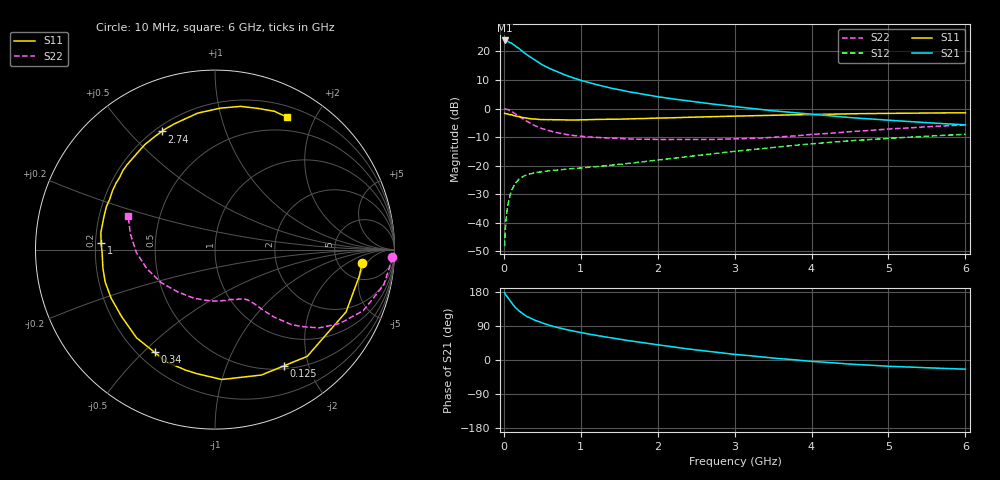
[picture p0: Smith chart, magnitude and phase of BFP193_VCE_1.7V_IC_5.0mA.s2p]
! Infineon Technologies  Discrete & RF Semiconductors
! BFP193
! VCE = 1.7 V,  IC =  5.0 mA
! Common Emitter S-Parameters:  Jan 2016
# GHz  S  MA  R  50
!  f  S11  S21  S12  S22
! GHz  MAG  ANG  MAG  ANG  MAG  ANG  MAG  ANG
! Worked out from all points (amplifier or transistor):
!   210 points, 10 MHz to 6 GHz, reference 50 ohm
!   highest |S21| = 23.8 dB at 10 MHz (marker M1)
!   |S21| within 3 dB of that: start of sweep to 205.5 MHz
!   unconditionally stable (mu >= 1): 1.263 GHz to 3.709 GHz
!   at 185 MHz: K = 0.21, MSG = 23.2 dB, |S12| = -25.1 dB
!   at 1.52 GHz: K = 1.09, MAG = 11.1 dB, |S12| = -19.5 dB
!   at 6 GHz: K = 0.93, MSG = 1.7 dB, |S12| = -9.0 dB
!   S11 on the Smith chart (normalised r, x): 10 MHz: 8.43, -3.98; 125 MHz: 0.54, -1.63; 340 MHz: 0.26, -0.54; 1 GHz: 0.22, +0.03; 2.74 GHz: 0.23, +0.62; 6 GHz: 0.33, +1.64
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0.01  0.8235 -5.3  15.54 177.9  0.0039 90.1  0.9873 -2.4
0.02  0.8174 -10.4  15.24 173.4  0.0078 83.0  0.9814 -4.7
0.05  0.8086 -25.4  15.02 164.6  0.0197 77.8  0.9603 -11.9
0.1  0.7859 -49.2  13.95 150.9  0.0366 65.9  0.8933 -22.4
0.125  0.7533 -59.2  13.13 145.0  0.0428 60.5  0.8491 -26.2
0.15  0.7451 -69.7  12.47 138.4  0.0493 56.5  0.8091 -30.5
0.2  0.7247 -87.0  11.16 129.1  0.0586 49.7  0.7274 -36.8
0.26  0.691 -103.8  9.571 119.9  0.0656 43.3  0.6408 -41.9
0.3  0.6816 -113.3  8.732 114.7  0.0694 40.7  0.5958 -44.5
0.34  0.6638 -120.5  8.046 111.4  0.0716 38.5  0.5581 -46.0
0.4  0.6576 -131.7  7.079 105.2  0.0751 35.5  0.5025 -48.7
0.5  0.6404 -144.3  5.831 97.4  0.0788 32.8  0.4431 -51.0
0.6  0.639 -155.0  4.99 91.0  0.0817 31.5  0.4036 -52.5
1  0.6356 176.8  3.121 72.4  0.0912 32.3  0.3271 -58.1
1.02  0.6366 175.8  3.068 71.7  0.0916 32.4  0.3253 -58.5
1.4  0.6508 158.1  2.266 58.3  0.1017 35.1  0.3046 -65.7
2.02  0.6813 135.5  1.597 39.6  0.1264 39.6  0.2873 -81.2
2.74  0.722 114.2  1.189 21.0  0.1634 39.9  0.2881 -104.0
3.1  0.7403 105.7  1.048 13.1  0.1845 38.6  0.2961 -116.8
4.1  0.7916 86.3  0.773 -4.9  0.2474 31.1  0.358 -151.9
5.1  0.8249 71.7  0.612 -17.3  0.3064 20.3  0.4449 179.4
6  0.8403 61.4  0.519 -24.2  0.3542 9.7  0.5197 158.6
